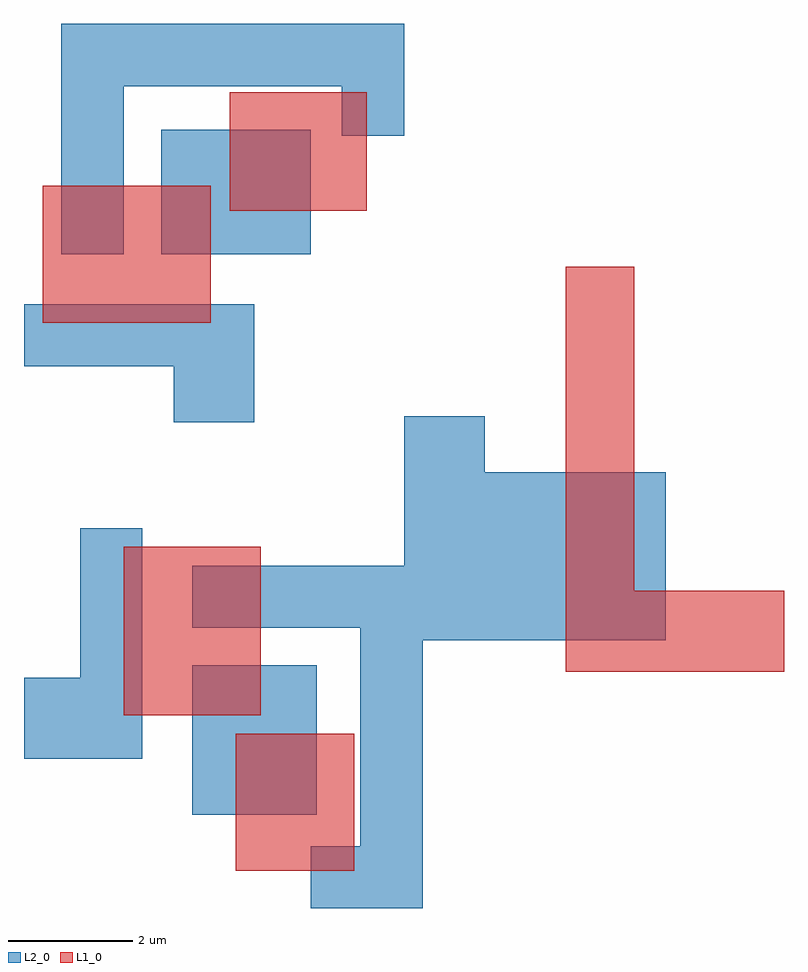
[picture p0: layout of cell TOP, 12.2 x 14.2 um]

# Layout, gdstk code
from math import pi, radians
import gdstk
lib = gdstk.Library(unit=1e-6, precision=1e-09)
def R(c, l, rs):  # rectangles x0, y0, x1, y1
    for r in rs: c.add(gdstk.rectangle(r[:2], r[2:], *l))
def P(c, l, *ps):  # polygons
    for p in ps: c.add(gdstk.Polygon(p, *l))
L1_0 = (1, 0)
L2_0 = (2, 0)
L10_0 = (10, 0)
L11_0 = (11, 0)
L12_0 = (12, 0)
L20_0 = (20, 0)
L21_0 = (21, 0)
L22_0 = (22, 0)

c_a = lib.new_cell('A')
R(c_a, L1_0, [(0.4,0.8,2.6,2.7), (2.9,2.3,5.6,4.5)])
R(c_a, L2_0, [(1.3,1.4,3.7,3.4)])
P(c_a, L2_0, [(2.2,4.2),(2.2,6.1),(3.5,6.1),(3.5,5.2),(5.9,5.2),(5.9,4.2)],
  [(-0.2,-0.3),(-0.2,1.5),(0.8,1.5),(0.8,0.7),(4.3,0.7),(4.3,3.4),(5.3,3.4),(5.3,-0.3)])
c_a.add(gdstk.FlexPath([(2.9,4.5),(5.6,4.5)], 0, ends="flush", simple_path=True, layer=10, datatype=0))  # L10_0
c_a.add(gdstk.FlexPath([(5.6,4.5),(5.6,2.3)], 0, ends="flush", simple_path=True, layer=10, datatype=0))  # L10_0
c_a.add(gdstk.FlexPath([(5.6,2.3),(2.9,2.3)], 0, ends="flush", simple_path=True, layer=10, datatype=0))  # L10_0
c_a.add(gdstk.FlexPath([(2.9,2.3),(2.9,4.5)], 0, ends="flush", simple_path=True, layer=10, datatype=0))  # L10_0
c_a.add(gdstk.FlexPath([(0.4,2.7),(2.6,2.7)], 0, ends="flush", simple_path=True, layer=10, datatype=0))  # L10_0
c_a.add(gdstk.FlexPath([(2.6,2.7),(2.6,0.8)], 0, ends="flush", simple_path=True, layer=10, datatype=0))  # L10_0
c_a.add(gdstk.FlexPath([(2.6,0.8),(0.4,0.8)], 0, ends="flush", simple_path=True, layer=10, datatype=0))  # L10_0
c_a.add(gdstk.FlexPath([(0.4,0.8),(0.4,2.7)], 0, ends="flush", simple_path=True, layer=10, datatype=0))  # L10_0
c_a.add(gdstk.FlexPath([(5.6,4.5),(5.6,2.3)], 0, ends="flush", simple_path=True, layer=11, datatype=0))  # L11_0
c_a.add(gdstk.FlexPath([(0.4,2.7),(2.6,2.7)], 0, ends="flush", simple_path=True, layer=11, datatype=0))  # L11_0
c_a.add(gdstk.FlexPath([(5.6,2.3),(2.9,2.3)], 0, ends="flush", simple_path=True, layer=11, datatype=0))  # L11_0
c_a.add(gdstk.FlexPath([(2.6,2.7),(2.6,0.8)], 0, ends="flush", simple_path=True, layer=11, datatype=0))  # L11_0
c_a.add(gdstk.FlexPath([(2.9,2.3),(2.9,4.5)], 0, ends="flush", simple_path=True, layer=11, datatype=0))  # L11_0
c_a.add(gdstk.FlexPath([(2.6,0.8),(0.4,0.8)], 0, ends="flush", simple_path=True, layer=11, datatype=0))  # L11_0
c_a.add(gdstk.FlexPath([(2.9,4.5),(5.6,4.5)], 0, ends="flush", simple_path=True, layer=11, datatype=0))  # L11_0
c_a.add(gdstk.FlexPath([(0.4,0.8),(0.4,2.7)], 0, ends="flush", simple_path=True, layer=11, datatype=0))  # L11_0
c_a.add(gdstk.FlexPath([(2.9,2.3),(2.9,4.5)], 0, ends="flush", simple_path=True, layer=12, datatype=0))  # L12_0
c_a.add(gdstk.FlexPath([(2.9,4.5),(5.6,4.5)], 0, ends="flush", simple_path=True, layer=12, datatype=0))  # L12_0
c_a.add(gdstk.FlexPath([(5.6,4.5),(5.6,2.3)], 0, ends="flush", simple_path=True, layer=12, datatype=0))  # L12_0
c_a.add(gdstk.FlexPath([(5.6,2.3),(2.9,2.3)], 0, ends="flush", simple_path=True, layer=12, datatype=0))  # L12_0
c_a.add(gdstk.FlexPath([(0.4,0.8),(0.4,2.7)], 0, ends="flush", simple_path=True, layer=12, datatype=0))  # L12_0
c_a.add(gdstk.FlexPath([(0.4,2.7),(2.6,2.7)], 0, ends="flush", simple_path=True, layer=12, datatype=0))  # L12_0
c_a.add(gdstk.FlexPath([(2.6,2.7),(2.6,0.8)], 0, ends="flush", simple_path=True, layer=12, datatype=0))  # L12_0
c_a.add(gdstk.FlexPath([(2.6,0.8),(0.4,0.8)], 0, ends="flush", simple_path=True, layer=12, datatype=0))  # L12_0
c_a.add(gdstk.FlexPath([(5.3,3.4),(5.3,0)], 0, ends="flush", simple_path=True, layer=20, datatype=0))  # L20_0
c_a.add(gdstk.FlexPath([(-0.2,1.5),(0.8,1.5)], 0, ends="flush", simple_path=True, layer=20, datatype=0))  # L20_0
c_a.add(gdstk.FlexPath([(3.7,3.4),(3.7,1.4)], 0, ends="flush", simple_path=True, layer=20, datatype=0))  # L20_0
c_a.add(gdstk.FlexPath([(0.8,1.5),(0.8,0.7)], 0, ends="flush", simple_path=True, layer=20, datatype=0))  # L20_0
c_a.add(gdstk.FlexPath([(2.2,6.1),(3.5,6.1)], 0, ends="flush", simple_path=True, layer=20, datatype=0))  # L20_0
c_a.add(gdstk.FlexPath([(3.7,1.4),(1.3,1.4)], 0, ends="flush", simple_path=True, layer=20, datatype=0))  # L20_0
c_a.add(gdstk.FlexPath([(3.5,5.2),(5.9,5.2)], 0, ends="flush", simple_path=True, layer=20, datatype=0))  # L20_0
c_a.add(gdstk.FlexPath([(3.5,6.1),(3.5,5.2)], 0, ends="flush", simple_path=True, layer=20, datatype=0))  # L20_0
c_a.add(gdstk.FlexPath([(4.3,0.7),(4.3,3.4)], 0, ends="flush", simple_path=True, layer=20, datatype=0))  # L20_0
c_a.add(gdstk.FlexPath([(5.9,5.2),(5.9,4.2)], 0, ends="flush", simple_path=True, layer=20, datatype=0))  # L20_0
c_a.add(gdstk.FlexPath([(5.9,4.2),(2.2,4.2)], 0, ends="flush", simple_path=True, layer=20, datatype=0))  # L20_0
c_a.add(gdstk.FlexPath([(4.1,-0.3),(-0.2,-0.3)], 0, ends="flush", simple_path=True, layer=20, datatype=0))  # L20_0
c_a.add(gdstk.FlexPath([(1.3,1.4),(1.3,3.4)], 0, ends="flush", simple_path=True, layer=20, datatype=0))  # L20_0
c_a.add(gdstk.FlexPath([(1.3,3.4),(3.7,3.4)], 0, ends="flush", simple_path=True, layer=20, datatype=0))  # L20_0
c_a.add(gdstk.FlexPath([(0.8,0.7),(4.3,0.7)], 0, ends="flush", simple_path=True, layer=20, datatype=0))  # L20_0
c_a.add(gdstk.FlexPath([(4.3,3.4),(5.3,3.4)], 0, ends="flush", simple_path=True, layer=20, datatype=0))  # L20_0
c_a.add(gdstk.FlexPath([(2.2,4.2),(2.2,6.1)], 0, ends="flush", simple_path=True, layer=20, datatype=0))  # L20_0
c_a.add(gdstk.FlexPath([(-0.2,-0.3),(-0.2,1.5)], 0, ends="flush", simple_path=True, layer=20, datatype=0))  # L20_0
c_a.add(gdstk.FlexPath([(4.1,-0.3),(-0.2,-0.3)], 0, ends="flush", simple_path=True, layer=21, datatype=0))  # L21_0
c_a.add(gdstk.FlexPath([(4.3,0.7),(4.3,3.4)], 0, ends="flush", simple_path=True, layer=21, datatype=0))  # L21_0
c_a.add(gdstk.FlexPath([(0.8,0.7),(4.3,0.7)], 0, ends="flush", simple_path=True, layer=21, datatype=0))  # L21_0
c_a.add(gdstk.FlexPath([(-0.2,1.5),(0.8,1.5)], 0, ends="flush", simple_path=True, layer=21, datatype=0))  # L21_0
c_a.add(gdstk.FlexPath([(0.8,1.5),(0.8,0.7)], 0, ends="flush", simple_path=True, layer=21, datatype=0))  # L21_0
c_a.add(gdstk.FlexPath([(2.2,6.1),(3.5,6.1)], 0, ends="flush", simple_path=True, layer=21, datatype=0))  # L21_0
c_a.add(gdstk.FlexPath([(3.5,5.2),(5.9,5.2)], 0, ends="flush", simple_path=True, layer=21, datatype=0))  # L21_0
c_a.add(gdstk.FlexPath([(1.3,1.4),(1.3,3.4)], 0, ends="flush", simple_path=True, layer=21, datatype=0))  # L21_0
c_a.add(gdstk.FlexPath([(2.2,4.2),(2.2,6.1)], 0, ends="flush", simple_path=True, layer=21, datatype=0))  # L21_0
c_a.add(gdstk.FlexPath([(-0.2,-0.3),(-0.2,1.5)], 0, ends="flush", simple_path=True, layer=21, datatype=0))  # L21_0
c_a.add(gdstk.FlexPath([(3.5,6.1),(3.5,5.2)], 0, ends="flush", simple_path=True, layer=21, datatype=0))  # L21_0
c_a.add(gdstk.FlexPath([(5.3,3.4),(5.3,-0.3)], 0, ends="flush", simple_path=True, layer=21, datatype=0))  # L21_0
c_a.add(gdstk.FlexPath([(5.9,5.2),(5.9,4.2)], 0, ends="flush", simple_path=True, layer=21, datatype=0))  # L21_0
c_a.add(gdstk.FlexPath([(5.9,4.2),(2.2,4.2)], 0, ends="flush", simple_path=True, layer=21, datatype=0))  # L21_0
c_a.add(gdstk.FlexPath([(3.7,1.4),(1.3,1.4)], 0, ends="flush", simple_path=True, layer=21, datatype=0))  # L21_0
c_a.add(gdstk.FlexPath([(1.3,3.4),(3.7,3.4)], 0, ends="flush", simple_path=True, layer=21, datatype=0))  # L21_0
c_a.add(gdstk.FlexPath([(3.7,3.4),(3.7,1.4)], 0, ends="flush", simple_path=True, layer=21, datatype=0))  # L21_0
c_a.add(gdstk.FlexPath([(4.3,3.4),(5.3,3.4)], 0, ends="flush", simple_path=True, layer=21, datatype=0))  # L21_0
c_a.add(gdstk.FlexPath([(2.2,4.2),(2.2,6.1)], 0, ends="flush", simple_path=True, layer=22, datatype=0))  # L22_0
c_a.add(gdstk.FlexPath([(2.2,6.1),(3.5,6.1)], 0, ends="flush", simple_path=True, layer=22, datatype=0))  # L22_0
c_a.add(gdstk.FlexPath([(3.5,6.1),(3.5,5.2)], 0, ends="flush", simple_path=True, layer=22, datatype=0))  # L22_0
c_a.add(gdstk.FlexPath([(3.5,5.2),(5.9,5.2)], 0, ends="flush", simple_path=True, layer=22, datatype=0))  # L22_0
c_a.add(gdstk.FlexPath([(5.9,5.2),(5.9,4.2)], 0, ends="flush", simple_path=True, layer=22, datatype=0))  # L22_0
c_a.add(gdstk.FlexPath([(5.9,4.2),(2.2,4.2)], 0, ends="flush", simple_path=True, layer=22, datatype=0))  # L22_0
c_a.add(gdstk.FlexPath([(-0.2,-0.3),(-0.2,1.5)], 0, ends="flush", simple_path=True, layer=22, datatype=0))  # L22_0
c_a.add(gdstk.FlexPath([(-0.2,1.5),(0.8,1.5)], 0, ends="flush", simple_path=True, layer=22, datatype=0))  # L22_0
c_a.add(gdstk.FlexPath([(0.8,1.5),(0.8,0.7)], 0, ends="flush", simple_path=True, layer=22, datatype=0))  # L22_0
c_a.add(gdstk.FlexPath([(0.8,0.7),(4.3,0.7)], 0, ends="flush", simple_path=True, layer=22, datatype=0))  # L22_0
c_a.add(gdstk.FlexPath([(4.3,0.7),(4.3,3.4)], 0, ends="flush", simple_path=True, layer=22, datatype=0))  # L22_0
c_a.add(gdstk.FlexPath([(4.3,3.4),(5.3,3.4)], 0, ends="flush", simple_path=True, layer=22, datatype=0))  # L22_0
c_a.add(gdstk.FlexPath([(5.3,3.4),(5.3,-0.3)], 0, ends="flush", simple_path=True, layer=22, datatype=0))  # L22_0
c_a.add(gdstk.FlexPath([(5.3,-0.3),(-0.2,-0.3)], 0, ends="flush", simple_path=True, layer=22, datatype=0))  # L22_0
c_a.add(gdstk.FlexPath([(1.3,1.4),(1.3,3.4)], 0, ends="flush", simple_path=True, layer=22, datatype=0))  # L22_0
c_a.add(gdstk.FlexPath([(1.3,3.4),(3.7,3.4)], 0, ends="flush", simple_path=True, layer=22, datatype=0))  # L22_0
c_a.add(gdstk.FlexPath([(3.7,3.4),(3.7,1.4)], 0, ends="flush", simple_path=True, layer=22, datatype=0))  # L22_0
c_a.add(gdstk.FlexPath([(3.7,1.4),(1.3,1.4)], 0, ends="flush", simple_path=True, layer=22, datatype=0))  # L22_0

top = lib.new_cell('TOP')
P(top, L1_0, [(9.2,4.1),(9.2,10.6),(10.3,10.6),(10.3,5.4),(12.7,5.4),(12.7,4.1)])
R(top, L2_0, [(6.6,4.6,10.8,5.8)])
P(top, L2_0, [(6.6,5.8),(6.6,8.2),(7.9,8.2),(7.9,7.3),(10.8,7.3),(10.8,5.8)])
top.add(gdstk.FlexPath([(10.3,5.4),(12.7,5.4)], 0, ends="flush", simple_path=True, layer=10, datatype=0))  # L10_0
top.add(gdstk.FlexPath([(10.3,10.6),(10.3,5.4)], 0, ends="flush", simple_path=True, layer=10, datatype=0))  # L10_0
top.add(gdstk.FlexPath([(9.2,10.6),(10.3,10.6)], 0, ends="flush", simple_path=True, layer=10, datatype=0))  # L10_0
top.add(gdstk.FlexPath([(12.7,5.4),(12.7,4.1)], 0, ends="flush", simple_path=True, layer=10, datatype=0))  # L10_0
top.add(gdstk.FlexPath([(12.7,4.1),(9.2,4.1)], 0, ends="flush", simple_path=True, layer=10, datatype=0))  # L10_0
top.add(gdstk.FlexPath([(9.2,4.1),(9.2,10.6)], 0, ends="flush", simple_path=True, layer=10, datatype=0))  # L10_0
top.add(gdstk.FlexPath([(10.3,5.4),(12.7,5.4)], 0, ends="flush", simple_path=True, layer=11, datatype=0))  # L11_0
top.add(gdstk.FlexPath([(10.3,10.6),(10.3,5.4)], 0, ends="flush", simple_path=True, layer=11, datatype=0))  # L11_0
top.add(gdstk.FlexPath([(9.2,10.6),(10.3,10.6)], 0, ends="flush", simple_path=True, layer=11, datatype=0))  # L11_0
top.add(gdstk.FlexPath([(12.7,5.4),(12.7,4.1)], 0, ends="flush", simple_path=True, layer=11, datatype=0))  # L11_0
top.add(gdstk.FlexPath([(12.7,4.1),(9.2,4.1)], 0, ends="flush", simple_path=True, layer=11, datatype=0))  # L11_0
top.add(gdstk.FlexPath([(9.2,4.1),(9.2,10.6)], 0, ends="flush", simple_path=True, layer=11, datatype=0))  # L11_0
top.add(gdstk.FlexPath([(9.2,4.1),(9.2,10.6)], 0, ends="flush", simple_path=True, layer=12, datatype=0))  # L12_0
top.add(gdstk.FlexPath([(9.2,10.6),(10.3,10.6)], 0, ends="flush", simple_path=True, layer=12, datatype=0))  # L12_0
top.add(gdstk.FlexPath([(10.3,10.6),(10.3,5.4)], 0, ends="flush", simple_path=True, layer=12, datatype=0))  # L12_0
top.add(gdstk.FlexPath([(10.3,5.4),(12.7,5.4)], 0, ends="flush", simple_path=True, layer=12, datatype=0))  # L12_0
top.add(gdstk.FlexPath([(12.7,5.4),(12.7,4.1)], 0, ends="flush", simple_path=True, layer=12, datatype=0))  # L12_0
top.add(gdstk.FlexPath([(12.7,4.1),(9.2,4.1)], 0, ends="flush", simple_path=True, layer=12, datatype=0))  # L12_0
top.add(gdstk.FlexPath([(7.9,8.2),(7.9,7.3)], 0, ends="flush", simple_path=True, layer=20, datatype=0))  # L20_0
top.add(gdstk.FlexPath([(7.9,7.3),(10.8,7.3)], 0, ends="flush", simple_path=True, layer=20, datatype=0))  # L20_0
top.add(gdstk.FlexPath([(10.8,5.8),(10.8,4.6)], 0, ends="flush", simple_path=True, layer=20, datatype=0))  # L20_0
top.add(gdstk.FlexPath([(6.6,8.2),(7.9,8.2)], 0, ends="flush", simple_path=True, layer=20, datatype=0))  # L20_0
top.add(gdstk.FlexPath([(10.8,4.6),(6.9,4.6)], 0, ends="flush", simple_path=True, layer=20, datatype=0))  # L20_0
top.add(gdstk.FlexPath([(6.6,5.8),(6.6,8.2)], 0, ends="flush", simple_path=True, layer=20, datatype=0))  # L20_0
top.add(gdstk.FlexPath([(1.1,14.5),(2.3,14.5)], 0, ends="flush", simple_path=True, layer=20, datatype=0))  # L20_0
top.add(gdstk.FlexPath([(10.8,7.3),(10.8,5.8)], 0, ends="flush", simple_path=True, layer=20, datatype=0))  # L20_0
top.add(gdstk.FlexPath([(1.1,14.2),(1.1,14.5)], 0, ends="flush", simple_path=True, layer=20, datatype=0))  # L20_0
top.add(gdstk.FlexPath([(7.9,7.3),(10.8,7.3)], 0, ends="flush", simple_path=True, layer=21, datatype=0))  # L21_0
top.add(gdstk.FlexPath([(10.8,7.3),(10.8,5.8)], 0, ends="flush", simple_path=True, layer=21, datatype=0))  # L21_0
top.add(gdstk.FlexPath([(10.8,5.8),(6.6,5.8)], 0, ends="flush", simple_path=True, layer=21, datatype=0))  # L21_0
top.add(gdstk.FlexPath([(7.9,8.2),(7.9,7.3)], 0, ends="flush", simple_path=True, layer=21, datatype=0))  # L21_0
top.add(gdstk.FlexPath([(6.6,5.8),(6.6,8.2)], 0, ends="flush", simple_path=True, layer=21, datatype=0))  # L21_0
top.add(gdstk.FlexPath([(6.6,5.8),(10.8,5.8)], 0, ends="flush", simple_path=True, layer=21, datatype=0))  # L21_0
top.add(gdstk.FlexPath([(10.8,5.8),(10.8,4.6)], 0, ends="flush", simple_path=True, layer=21, datatype=0))  # L21_0
top.add(gdstk.FlexPath([(6.6,8.2),(7.9,8.2)], 0, ends="flush", simple_path=True, layer=21, datatype=0))  # L21_0
top.add(gdstk.FlexPath([(10.8,4.6),(6.9,4.6)], 0, ends="flush", simple_path=True, layer=21, datatype=0))  # L21_0
top.add(gdstk.FlexPath([(1.1,14.5),(2.3,14.5)], 0, ends="flush", simple_path=True, layer=21, datatype=0))  # L21_0
top.add(gdstk.FlexPath([(6.6,5.8),(6.6,8.2)], 0, ends="flush", simple_path=True, layer=22, datatype=0))  # L22_0
top.add(gdstk.FlexPath([(6.6,8.2),(7.9,8.2)], 0, ends="flush", simple_path=True, layer=22, datatype=0))  # L22_0
top.add(gdstk.FlexPath([(7.9,8.2),(7.9,7.3)], 0, ends="flush", simple_path=True, layer=22, datatype=0))  # L22_0
top.add(gdstk.FlexPath([(7.9,7.3),(10.8,7.3)], 0, ends="flush", simple_path=True, layer=22, datatype=0))  # L22_0
top.add(gdstk.FlexPath([(10.8,7.3),(10.8,5.8)], 0, ends="flush", simple_path=True, layer=22, datatype=0))  # L22_0
top.add(gdstk.FlexPath([(10.8,5.8),(6.6,5.8)], 0, ends="flush", simple_path=True, layer=22, datatype=0))  # L22_0
top.add(gdstk.FlexPath([(6.6,4.6),(6.6,5.8)], 0, ends="flush", simple_path=True, layer=22, datatype=0))  # L22_0
top.add(gdstk.FlexPath([(6.6,5.8),(10.8,5.8)], 0, ends="flush", simple_path=True, layer=22, datatype=0))  # L22_0
top.add(gdstk.FlexPath([(10.8,5.8),(10.8,4.6)], 0, ends="flush", simple_path=True, layer=22, datatype=0))  # L22_0
top.add(gdstk.FlexPath([(10.8,4.6),(6.6,4.6)], 0, ends="flush", simple_path=True, layer=22, datatype=0))  # L22_0
top.add(gdstk.Reference(c_a, (6.6,0.5), rotation=pi/2))
top.add(gdstk.Reference(c_a, (6.4,14.2), rotation=pi))

lib.write_gds('TOP.gds')
